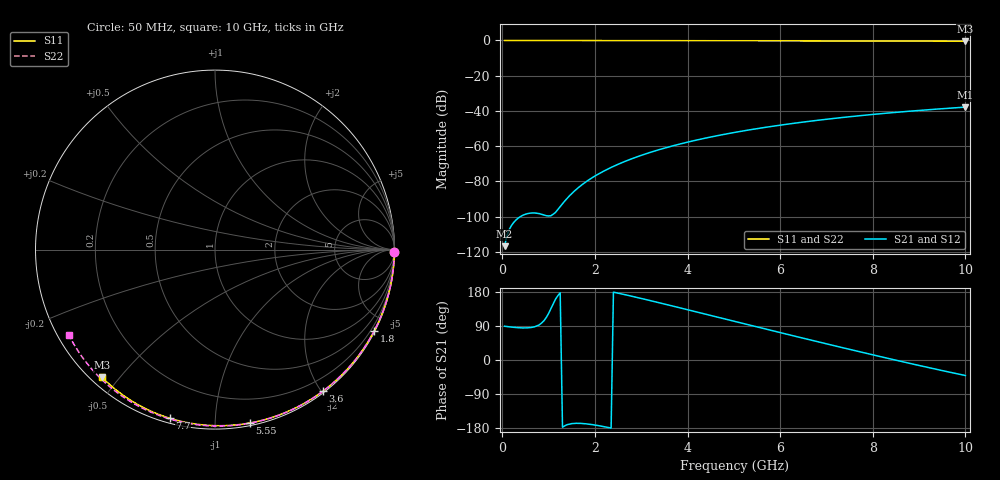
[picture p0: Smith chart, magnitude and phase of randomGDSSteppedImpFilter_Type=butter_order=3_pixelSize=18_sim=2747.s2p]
! freq	dB(S11)	phase(S11)	dB(S12)	phase(S12)
!  dB(S21)	phase(S21)	dB(S22)	phase(S22)
!S-par simulation data
#  GHz  S  DB  R 50
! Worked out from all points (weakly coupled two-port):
!   200 points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, 50 MHz to 10 GHz, reference 50 ohm
!   highest |S21| = -37.83 dB at 10 GHz (marker M1); lowest = -116.8 dB at 50 MHz (marker M2)
!   lowest |S11| = -0.4 dB at 10 GHz (marker M3), VSWR 39.00, Z = 1.54 - j22.5 ohm
!   |S11| at or under -10 dB: nowhere
!   |S22| runs from -0.5 to 0.0 dB; largest |S21 - S12| = 0
!   S11 on the Smith chart (normalised r, x): 50 MHz: open; 1.8 GHz: 0.04, -4.18; 3.6 GHz: 0.02, -2.02; 5.55 GHz: 0.02, -1.22; 7.7 GHz: 0.02, -0.77; 10 GHz: 0.03, -0.45
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0.05  -0.00 -0.8  -116.76 89.1  -116.76 89.1  -0.00 -0.9
0.45  -0.01 -6.8  -99.12 84.6  -99.12 84.6  -0.01 -7.8
0.9  -0.02 -13.6  -99.07 103.7  -99.07 103.7  -0.02 -15.5
1.3  -0.02 -19.6  -92.69 -177.3  -92.69 -177.3  -0.03 -22.3
1.75  -0.03 -26.2  -81.32 -167.7  -81.32 -167.7  -0.04 -29.9
1.8  -0.03 -26.9  -80.37 -168.3  -80.37 -168.3  -0.04 -30.7
1.85  -0.04 -27.7  -79.46 -169.0  -79.46 -169.0  -0.04 -31.6
2.05  -0.04 -30.6  -76.18 -172.7  -76.18 -172.7  -0.04 -34.9
2.2  -0.04 -32.8  -74.03 -176.0  -74.03 -176.0  -0.05 -37.4
2.5  -0.05 -37.1  -70.28 176.4  -70.28 176.4  -0.05 -42.3
2.9  -0.06 -42.8  -66.13 165.3  -66.13 165.3  -0.06 -48.8
3.4  -0.07 -49.9  -61.88 150.7  -61.88 150.7  -0.08 -56.8
3.6  -0.07 -52.7  -60.39 144.8  -60.39 144.8  -0.08 -59.9
4.3  -0.09 -62.2  -55.92 123.7  -55.92 123.7  -0.10 -70.7
5.05  -0.11 -72.2  -52.04 100.9  -52.04 100.9  -0.13 -81.9
5.55  -0.13 -78.7  -49.84 85.8  -49.84 85.8  -0.15 -89.2
6.1  -0.15 -85.6  -47.71 69.3  -47.71 69.3  -0.17 -97.0
6.7  -0.18 -93.1  -45.66 51.5  -45.66 51.5  -0.21 -105.4
7.7  -0.24 -105.1  -42.75 22.3  -42.75 22.3  -0.27 -119.0
8.35  -0.29 -112.6  -41.14 3.7  -41.14 3.7  -0.33 -127.7
9.2  -0.36 -122.4  -39.32 -19.9  -39.32 -19.9  -0.41 -139.0
10  -0.45 -131.4  -37.83 -40.9  -37.83 -40.9  -0.51 -149.8
